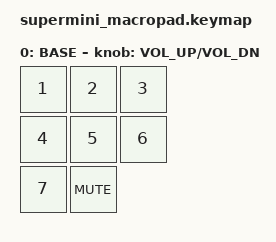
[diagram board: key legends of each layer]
/*
 * Copyright (c) 2026 The ZMK Contributors
 *
 * SPDX-License-Identifier: MIT
 */

#include <behaviors.dtsi>
#include <dt-bindings/zmk/keys.h>
#include <dt-bindings/zmk/bt.h>

/ {
    keymap {
        compatible = "zmk,keymap";

        default_layer {
            display-name = "BASE";
            bindings = <
                &kp N1    &kp N2    &kp N3
                &kp N4    &kp N5    &kp N6
                &kp N7    &kp C_MUTE
            >;

            sensor-bindings = <&inc_dec_kp C_VOL_UP C_VOL_DN>;
        };
    };
};
